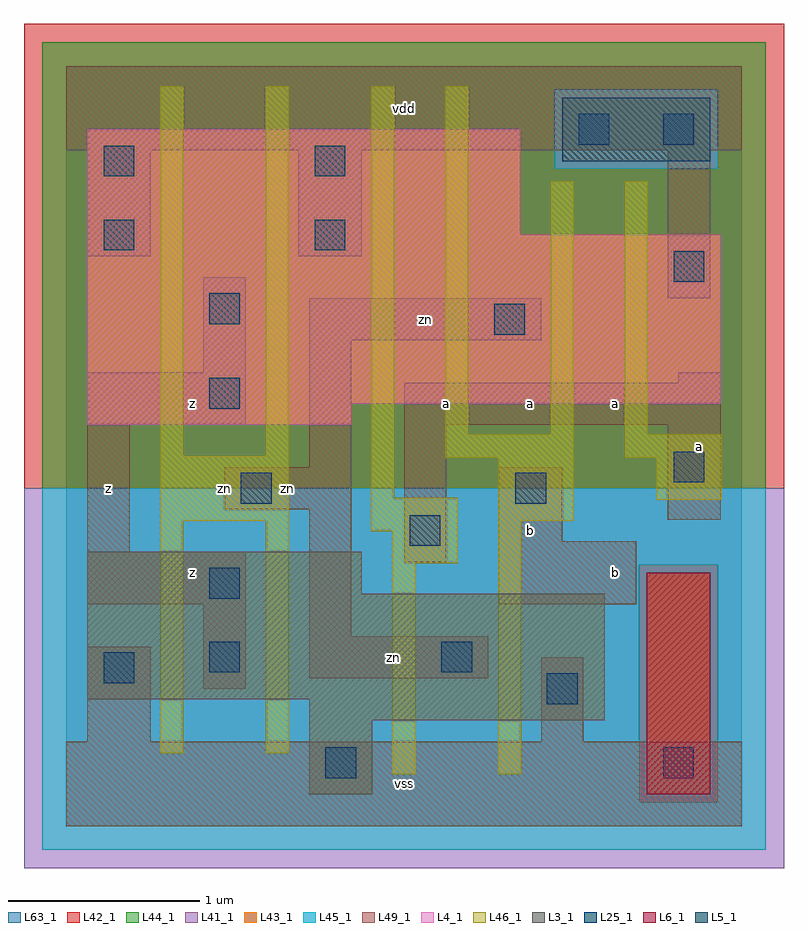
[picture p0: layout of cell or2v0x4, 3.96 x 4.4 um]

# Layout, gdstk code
import gdstk
lib = gdstk.Library(unit=1e-6, precision=1e-09)
def R(c, l, rs):  # rectangles x0, y0, x1, y1
    for r in rs: c.add(gdstk.rectangle(r[:2], r[2:], *l))
L3_1 = (3, 1)
L4_1 = (4, 1)
L5_1 = (5, 1)
L6_1 = (6, 1)
L25_1 = (25, 1)
L41_1 = (41, 1)
L42_1 = (42, 1)
L43_1 = (43, 1)
L44_1 = (44, 1)
L45_1 = (45, 1)
L46_1 = (46, 1)
L49_1 = (49, 1)
L63_1 = (63, 1)

or2v0x4 = lib.new_cell('or2v0x4')
R(or2v0x4, L3_1, [(1.265,0.165,1.595,0.55), (1.265,0.55,2.805,0.66), (0.11,0.66,2.805,1.21), (0.11,1.21,1.54,1.43)])
R(or2v0x4, L4_1, [(0.11,2.09,1.485,2.2), (0.11,2.2,3.41,3.08), (0.11,3.08,2.365,3.63)])
R(or2v0x4, L5_1, [(2.585,3.465,3.355,3.795)])
R(or2v0x4, L6_1, [(3.025,0.165,3.355,1.32)])
R(or2v0x4, L25_1, [(1.35,0.25,1.51,0.41), (3.11,0.25,3.27,0.41), (2.505,0.635,2.665,0.795), (0.195,0.745,0.355,0.905), (0.745,0.8,0.905,0.96), (1.955,0.8,2.115,0.96), (0.745,1.185,0.905,1.345), (1.79,1.46,1.95,1.62), (0.91,1.68,1.07,1.84), (2.34,1.68,2.5,1.84), (3.165,1.79,3.325,1.95), (0.745,2.175,0.905,2.335), (2.23,2.56,2.39,2.72), (0.745,2.615,0.905,2.775), (3.165,2.835,3.325,2.995), (0.195,3,0.355,3.16), (1.295,3,1.455,3.16), (0.195,3.385,0.355,3.545), (1.295,3.385,1.455,3.545), (2.67,3.55,2.83,3.71), (3.11,3.55,3.27,3.71)])
R(or2v0x4, L41_1, [(-0.22,-0.22,3.74,1.76)])
R(or2v0x4, L42_1, [(-0.22,1.76,3.74,4.18)])
R(or2v0x4, L43_1, [(1.265,0.165,1.595,0.55), (3.025,0.165,3.355,1.32), (1.265,0.55,2.805,0.66), (0.11,0.66,2.805,1.21), (0.11,1.21,1.54,1.43), (0.11,2.09,1.485,2.2), (0.11,2.2,3.41,3.08), (0.11,3.08,2.365,3.63), (2.585,3.465,3.355,3.795)])
R(or2v0x4, L44_1, [(2.985,0.125,3.395,1.36), (-0.125,1.76,3.645,3.425), (-0.125,3.425,2.545,3.835), (3.395,3.425,3.645,3.835), (-0.125,3.835,3.645,4.085)])
R(or2v0x4, L45_1, [(-0.125,-0.125,3.645,0.125), (-0.125,0.125,2.985,1.36), (3.395,0.125,3.645,1.36), (-0.125,1.36,3.645,1.76), (2.545,3.425,3.395,3.835)])
R(or2v0x4, L46_1, [(1.7,0.27,1.82,1.37), (2.25,0.27,2.37,1.59), (0.49,0.38,0.61,1.59), (1.04,0.38,1.16,1.59), (1.7,1.37,2.04,1.535), (1.59,1.535,2.04,1.71), (0.49,1.59,1.16,1.93), (2.25,1.59,2.645,1.92), (3.075,1.7,3.415,1.92), (1.59,1.71,1.71,3.855), (1.975,1.92,2.645,2.04), (2.91,1.92,3.415,2.04), (0.49,1.93,0.61,3.855), (1.04,1.93,1.16,3.855), (1.975,2.04,2.095,3.855), (2.525,2.04,2.645,3.36), (2.91,2.04,3.03,3.36)])
R(or2v0x4, L49_1, [(0,0,3.52,0.44), (0.11,0.44,0.44,0.935), (2.475,0.44,2.695,0.88), (0.715,0.715,0.935,1.155), (1.265,0.77,2.2,0.99), (1.265,0.99,1.485,1.65), (0.11,1.155,0.935,1.43), (2.255,1.155,2.97,1.485), (1.76,1.375,1.98,2.09), (0.11,1.43,0.33,2.09), (2.255,1.485,2.585,1.87), (3.135,1.595,3.41,2.09), (0.825,1.65,1.485,1.87), (1.265,1.87,1.485,2.53), (0.11,2.09,0.935,2.365), (1.76,2.09,3.41,2.31), (3.19,2.31,3.41,2.365), (0.715,2.365,0.935,2.86), (1.265,2.53,2.475,2.75), (3.135,2.75,3.355,3.52), (0.11,2.97,0.44,3.52), (1.21,2.97,1.54,3.52), (0,3.52,3.52,3.96)])
R(or2v0x4, L63_1, [(0,0,3.52,3.96)])
or2v0x4.add(gdstk.Label('zn', (0.825,1.76), layer=46, texttype=1))
or2v0x4.add(gdstk.Label('z', (0.22,1.76), layer=49, texttype=1))
or2v0x4.add(gdstk.Label('z', (0.66,1.32), layer=49, texttype=1))
or2v0x4.add(gdstk.Label('z', (0.66,2.2), layer=49, texttype=1))
or2v0x4.add(gdstk.Label('zn', (1.155,1.76), layer=49, texttype=1))
or2v0x4.add(gdstk.Label('vss', (1.76,0.22), layer=49, texttype=1))
or2v0x4.add(gdstk.Label('zn', (1.705,0.88), layer=49, texttype=1))
or2v0x4.add(gdstk.Label('b', (2.42,1.54), layer=49, texttype=1))
or2v0x4.add(gdstk.Label('a', (2.42,2.2), layer=49, texttype=1))
or2v0x4.add(gdstk.Label('a', (1.98,2.2), layer=49, texttype=1))
or2v0x4.add(gdstk.Label('zn', (1.87,2.64), layer=49, texttype=1))
or2v0x4.add(gdstk.Label('vdd', (1.76,3.74), layer=49, texttype=1))
or2v0x4.add(gdstk.Label('b', (2.86,1.32), layer=49, texttype=1))
or2v0x4.add(gdstk.Label('a', (3.3,1.98), layer=49, texttype=1))
or2v0x4.add(gdstk.Label('a', (2.86,2.2), layer=49, texttype=1))

lib.write_gds('or2v0x4.gds')
